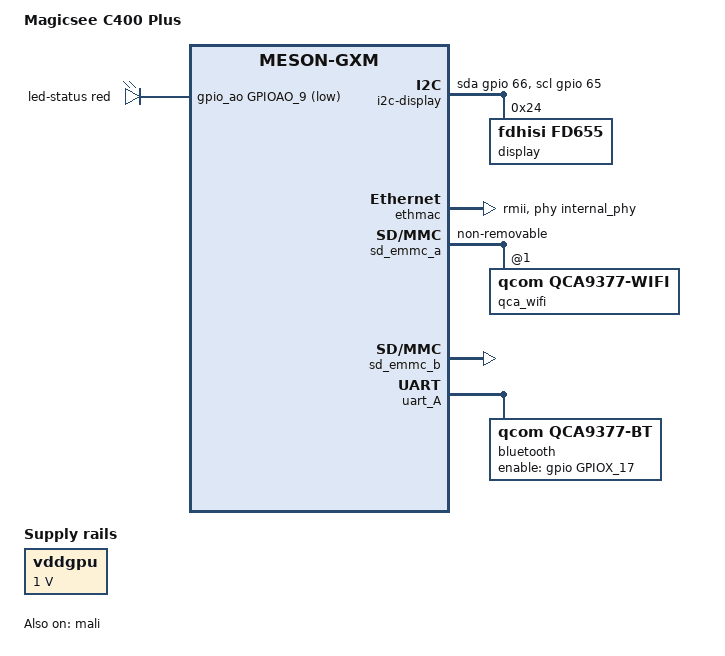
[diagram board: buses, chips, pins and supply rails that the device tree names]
/dts-v1/;

#include "meson-gxm.dtsi"
#include "meson-gx-p23x-q20x.dtsi"
#include <dt-bindings/gpio/gpio.h>
#include <dt-bindings/leds/common.h>

/ {
	compatible = "magicsee,c400-plus", "amlogic,s912", "amlogic,meson-gxm";
	model = "Magicsee C400 Plus";

	i2c-display {
		compatible = "i2c-gpio";
		sda-gpios = <&gpio 66 (GPIO_ACTIVE_HIGH | GPIO_OPEN_DRAIN)>;
		scl-gpios = <&gpio 65 (GPIO_ACTIVE_HIGH | GPIO_OPEN_DRAIN)>;
		i2c-gpio,delay-us = <5>;
		#address-cells = <1>;
		#size-cells = <0>;

		display@24 {
			compatible = "fdhisi,fd655";
			reg = <0x24>;

			digits {
				#address-cells = <1>;
				#size-cells = <0>;
				digit@1 {
					reg = <1>;
					segments = <1 0>, <1 1>, <1 2>, <1 3>, <1 4>, <1 5>, <1 6>;
				};
				digit@2 {
					reg = <2>;
					segments = <2 0>, <2 1>, <2 2>, <2 3>, <2 4>, <2 5>, <2 6>;
				};
				digit@3 {
					reg = <3>;
					segments = <3 0>, <3 1>, <3 2>, <3 3>, <3 4>, <3 5>, <3 6>;
				};
				digit@4 {
					reg = <4>;
					segments = <4 0>, <4 1>, <4 2>, <4 3>, <4 4>, <4 5>, <4 6>;
				};
			};
		};
	};

	leds {
		compatible = "gpio-leds";
		led-status {
			color = <LED_COLOR_ID_RED>;
			function = LED_FUNCTION_STATUS;
			gpios = <&gpio_ao GPIOAO_9 GPIO_ACTIVE_LOW>;
			linux,default-trigger = "heartbeat";
		};
	};

	vddgpu: regulator-vddgpu {
		compatible = "regulator-fixed";
		regulator-name = "mali";
		regulator-min-microvolt = <1000000>;
		regulator-max-microvolt = <1000000>;
		regulator-always-on;
		regulator-boot-on;
	};
};

&ethmac {
	phy-mode = "rmii";
	phy-handle = <&internal_phy>;
};

&gpu_opp_table {
	status = "okay";
	opp-125000000 {
		opp-hz = /bits/ 64 <125000000>;
		opp-microvolt = <1000000>;
	};
	opp-250000000 {
		opp-hz = /bits/ 64 <250000000>;
		opp-microvolt = <1000000>;
	};
	opp-285714285 {
		opp-hz = /bits/ 64 <285714285>;
		opp-microvolt = <1000000>;
	};
	opp-400000000 {
		opp-hz = /bits/ 64 <400000000>;
		opp-microvolt = <1000000>;
	};
	opp-500000000 {
		opp-hz = /bits/ 64 <500000000>;
		opp-microvolt = <1000000>;
	};
	opp-666666666 {
		opp-hz = /bits/ 64 <666666666>;
		opp-microvolt = <1000000>;
	};
};

&mali {
	status = "okay";
	mali-supply = <&vddgpu>;
	operating-points-v2 = <&gpu_opp_table>;
	/delete-property/ #cooling-cells;
	linux,pin-runtime-pm-probe;
};

&sd_emmc_a {
	status = "okay";
	max-frequency = <50000000>;
	non-removable;
	qca_wifi: wifi@1 {
		reg = <1>;
		compatible = "qcom,qca9377-wifi";
	};
};

&sd_emmc_b {
	status = "okay";
	broken-cd;
};

&uart_A {
	status = "okay";
	pinctrl-0 = <&uart_a_pins>, <&uart_a_cts_rts_pins>;
	pinctrl-names = "default";
	uart-has-rtscts;

	bluetooth {
		compatible = "qcom,qca9377-bt";
		enable-gpios = <&gpio GPIOX_17 GPIO_ACTIVE_HIGH>;
		max-speed = <2000000>;
		clocks = <&wifi32k>;
		clock-names = "lpo";
	};
};
